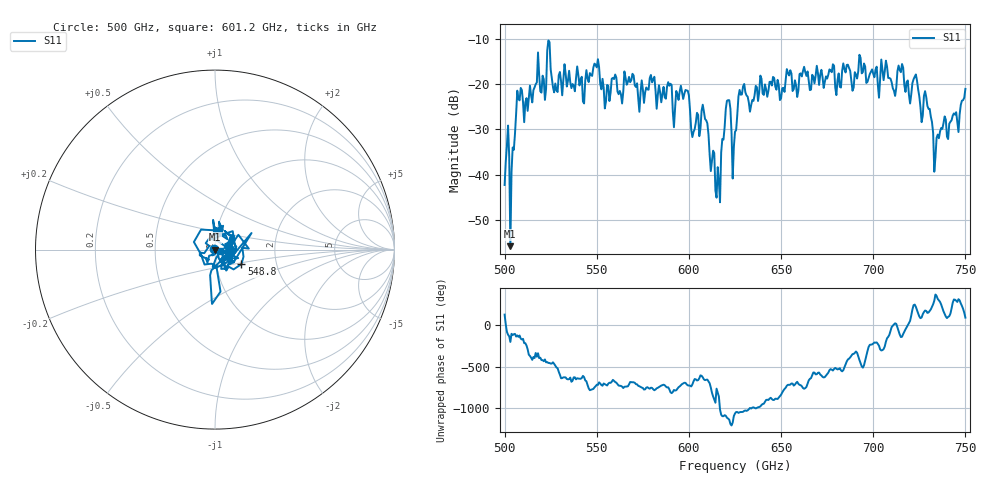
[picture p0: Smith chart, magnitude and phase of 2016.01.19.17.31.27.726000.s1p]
!Created with skrf (http://scikit-rf.org).
# GHz S RI R 50.0
!freq ReS11 ImS11
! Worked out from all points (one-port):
!   401 points, 500 GHz to 750 GHz, reference 50 ohm
!   lowest |S11| = -55.8 dB at 503.1 GHz (marker M1), VSWR 1.00, Z = 49.8 + j0.053 ohm
!   |S11| at or under -10 dB: start of sweep to end of sweep
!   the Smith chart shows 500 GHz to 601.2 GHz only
!   S11 on the Smith chart (normalised r, x): 500 GHz: 0.99, +0.01; 548.8 GHz: 1.33, -0.22; 601.2 GHz: 1.06, -0.02
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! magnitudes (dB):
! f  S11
! 500 GHz  -42.3
! 503.1 GHz  -55.8
! 504.4 GHz  -34.0
! 508.1 GHz  -23.6
! 521.2 GHz  -18.9
! 524.4 GHz  -10.7
! 527.5 GHz  -19.9
! 531.2 GHz  -22.5
! 548.8 GHz  -15.5
! 562.5 GHz  -21.5
! 580 GHz  -19.6
! 593.8 GHz  -22.2
! 598.8 GHz  -21.4
! 601.2 GHz  -30.1
! 608.8 GHz  -27.7
! 615.6 GHz  -38.4
! 621.2 GHz  -23.6
! 625 GHz  -30.5
! 628.8 GHz  -22.3
! 656.2 GHz  -21.5
! 687.5 GHz  -17.1
! 705.6 GHz  -19.1
! 711.2 GHz  -21.5
! 715 GHz  -17.4
! 718.8 GHz  -19.2
! 728.8 GHz  -22.9
! 734.4 GHz  -31.9
! 750 GHz  -21.1
